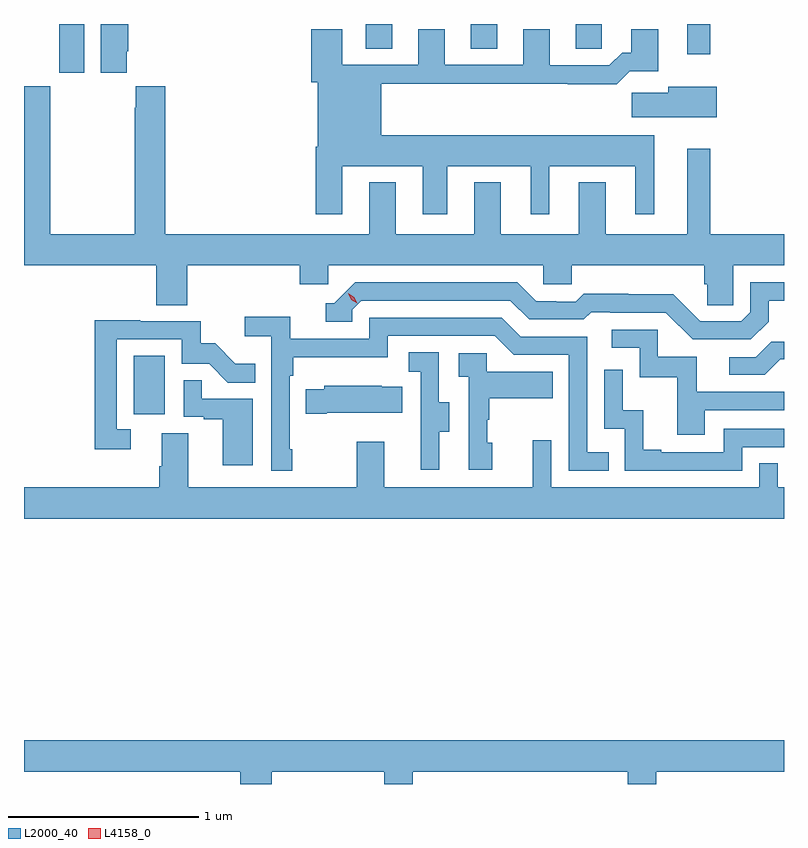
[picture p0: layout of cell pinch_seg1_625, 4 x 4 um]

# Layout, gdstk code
import gdstk
lib = gdstk.Library(unit=1e-6, precision=1e-09)
def R(c, l, rs):  # rectangles x0, y0, x1, y1
    for r in rs: c.add(gdstk.rectangle(r[:2], r[2:], *l))
def P(c, l, *ps):  # polygons
    for p in ps: c.add(gdstk.Polygon(p, *l))
L2000_40 = (2000, 40)
L4158_0 = (4158, 0)

pinch_seg1_625 = lib.new_cell('pinch_seg1_625')
R(pinch_seg1_625, L2000_40, [(1127.246,510.99,1127.41,511.297), (1126.853,512.787,1126.984,513.043), (1130.159,512.883,1130.281,513.043), (1128.467,512.914,1128.607,513.043), (1129.019,512.914,1129.159,513.043), (1129.571,512.914,1129.71,513.043)])
P(pinch_seg1_625, L2000_40, [(1127.209,512.899),(1127.216,512.899),(1127.216,513.043),(1127.072,513.043),(1127.072,512.787),(1127.209,512.787)],
  [(1128.343,512.294),(1128.767,512.294),(1128.767,512.043),(1128.895,512.043),(1128.895,512.294),(1129.334,512.294),(1129.334,512.043),(1129.432,512.043),(1129.432,512.294),(1129.886,512.294),(1129.886,512.043),(1129.984,512.043),(1129.984,512.458),(1128.547,512.458),(1128.547,512.728),(1129.531,512.728),(1129.531,512.726),(1129.787,512.726),(1129.856,512.795),(1130.005,512.795),(1130.005,513.016),(1129.865,513.016),(1129.865,512.893),(1129.816,512.893),(1129.749,512.826),(1129.435,512.826),(1129.435,513.016),(1129.295,513.016),(1129.295,512.829),(1128.883,512.829),(1128.883,513.016),(1128.743,513.016),(1128.743,512.829),(1128.343,512.829),(1128.343,513.016),(1128.179,513.016),(1128.179,512.736),(1128.215,512.736),(1128.215,512.398),(1128.203,512.398),(1128.203,512.043),(1128.343,512.043)],
  [(1130.249,511.674),(1130.263,511.674),(1130.263,511.564),(1130.4,511.564),(1130.4,511.772),(1130.668,511.772),(1130.668,511.936),(1130.281,511.936),(1130.281,512.386),(1130.159,512.386),(1130.159,511.936),(1129.729,511.936),(1129.729,512.209),(1129.589,512.209),(1129.589,511.936),(1129.177,511.936),(1129.177,512.209),(1129.037,512.209),(1129.037,511.936),(1128.625,511.936),(1128.625,512.209),(1128.485,512.209),(1128.485,511.936),(1127.411,511.936),(1127.411,512.716),(1127.255,512.716),(1127.255,512.603),(1127.251,512.603),(1127.251,511.936),(1126.806,511.936),(1126.806,512.716),(1126.668,512.716),(1126.668,511.772),(1127.363,511.772),(1127.363,511.564),(1127.528,511.564),(1127.528,511.772),(1128.119,511.772),(1128.119,511.674),(1128.27,511.674),(1128.27,511.772),(1129.401,511.772),(1129.401,511.674),(1129.551,511.674),(1129.551,511.772),(1130.249,511.772)],
  [(1130.314,512.713),(1130.06,512.713),(1130.06,512.681),(1129.866,512.681),(1129.866,512.552),(1130.314,512.552)],
  [(1130.587,511.477),(1130.587,511.587),(1130.668,511.587),(1130.668,511.683),(1130.49,511.683),(1130.49,511.527),(1130.442,511.479),(1130.226,511.479),(1130.084,511.621),(1129.848,511.621),(1129.848,511.624),(1129.615,511.624),(1129.573,511.581),(1129.47,511.581),(1129.47,511.584),(1129.363,511.584),(1129.264,511.683),(1128.411,511.683),(1128.3,511.572),(1128.257,511.572),(1128.257,511.476),(1128.396,511.476),(1128.396,511.539),(1128.444,511.587),(1129.227,511.587),(1129.326,511.488),(1129.615,511.488),(1129.654,511.527),(1129.753,511.527),(1129.753,511.524),(1130.046,511.524),(1130.187,511.383),(1130.493,511.383)],
  [(1128.079,510.805),(1128.066,510.805),(1128.066,511.193),(1128.086,511.193),(1128.086,511.289),(1128.582,511.289),(1128.582,511.401),(1129.146,511.401),(1129.245,511.302),(1129.536,511.302),(1129.536,510.693),(1129.745,510.693),(1129.745,510.789),(1129.632,510.789),(1129.632,511.398),(1129.282,511.398),(1129.183,511.497),(1128.486,511.497),(1128.486,511.386),(1128.068,511.386),(1128.068,511.502),(1127.829,511.502),(1127.829,511.4),(1127.97,511.4),(1127.97,510.693),(1128.079,510.693)],
  [(1127.23,510.909),(1127.157,510.909),(1127.157,511.383),(1127.499,511.383),(1127.499,511.254),(1127.643,511.254),(1127.741,511.156),(1127.885,511.156),(1127.885,511.255),(1127.781,511.255),(1127.674,511.362),(1127.598,511.362),(1127.598,511.479),(1127.279,511.479),(1127.279,511.484),(1127.041,511.484),(1127.041,510.804),(1127.23,510.804)],
  [(1130.251,511.011),(1130.668,511.011),(1130.668,511.107),(1130.209,511.107),(1130.209,511.293),(1130.004,511.293),(1130.004,511.434),(1129.761,511.434),(1129.761,511.338),(1129.908,511.338),(1129.908,511.185),(1130.107,511.185),(1130.107,510.882),(1130.251,510.882)],
  [(1130.647,511.278),(1130.668,511.278),(1130.668,511.37),(1130.6,511.37),(1130.52,511.29),(1130.379,511.29),(1130.379,511.197),(1130.566,511.197)],
  [(1128.853,510.898),(1128.907,510.898),(1128.907,511.053),(1128.852,511.053),(1128.852,511.316),(1128.693,511.316),(1128.693,511.213),(1128.756,511.213),(1128.756,510.909),(1128.755,510.909),(1128.755,510.696),(1128.853,510.696)],
  [(1129.132,510.84),(1129.107,510.84),(1129.107,510.959),(1129.117,510.959),(1129.117,511.073),(1129.451,511.073),(1129.451,511.213),(1129.104,511.213),(1129.104,511.311),(1128.957,511.311),(1128.957,511.187),(1129.008,511.187),(1129.008,510.696),(1129.132,510.696)],
  [(1130.448,510.816),(1130.668,510.816),(1130.668,510.912),(1130.352,510.912),(1130.352,510.789),(1130.023,510.789),(1130.023,510.802),(1129.928,510.802),(1129.928,511.01),(1129.818,511.01),(1129.818,511.222),(1129.722,511.222),(1129.722,510.912),(1129.83,510.912),(1129.83,510.693),(1130.448,510.693)],
  [(1127.872,511.071),(1127.603,511.071),(1127.603,511.169),(1127.508,511.169),(1127.508,510.975),(1127.615,510.975),(1127.615,510.963),(1127.714,510.963),(1127.714,510.72),(1127.872,510.72)],
  [(1128.262,510.998),(1128.659,510.998),(1128.659,511.135),(1128.551,511.135),(1128.551,511.138),(1128.249,511.138),(1128.249,511.12),(1128.151,511.12),(1128.151,510.991),(1128.262,510.991)],
  [(1130.668,510.604),(1130.634,510.604),(1130.634,510.731),(1130.538,510.731),(1130.538,510.604),(1129.443,510.604),(1129.443,510.853),(1129.346,510.853),(1129.346,510.604),(1128.565,510.604),(1128.565,510.844),(1128.418,510.844),(1128.418,510.604),(1127.533,510.604),(1127.533,510.89),(1127.393,510.89),(1127.393,510.716),(1127.381,510.716),(1127.381,510.604),(1126.668,510.604),(1126.668,510.44),(1130.668,510.44)],
  [(1127.972,509.108),(1128.563,509.108),(1128.563,509.043),(1128.714,509.043),(1128.714,509.108),(1129.845,509.108),(1129.845,509.043),(1129.995,509.043),(1129.995,509.108),(1130.668,509.108),(1130.668,509.272),(1126.668,509.272),(1126.668,509.108),(1127.807,509.108),(1127.807,509.043),(1127.972,509.043)])
P(pinch_seg1_625, L4158_0, [(1128.421,511.574),(1128.39,511.593),(1128.374,511.625),(1128.374,511.626),(1128.374,511.626),(1128.405,511.606),(1128.421,511.574),(1128.421,511.574)])

lib.write_gds('pinch_seg1_625.gds')
